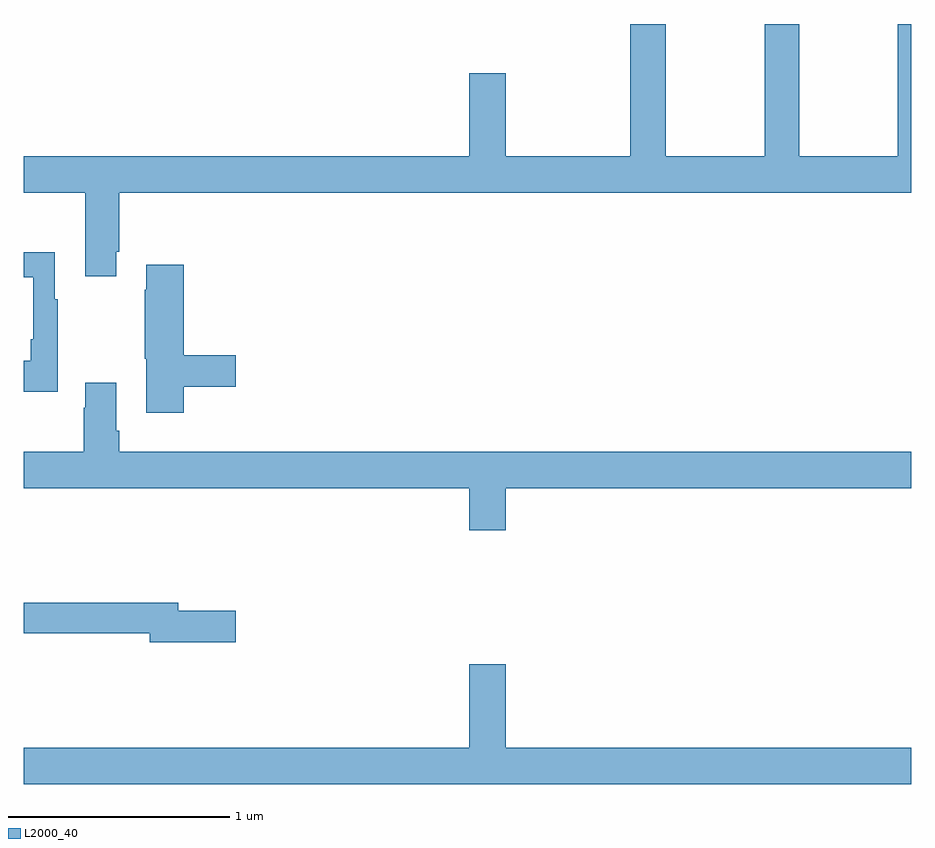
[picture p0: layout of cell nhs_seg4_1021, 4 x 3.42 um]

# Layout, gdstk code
import gdstk
lib = gdstk.Library(unit=1e-6, precision=1e-09)
def P(c, l, *ps):  # polygons
    for p in ps: c.add(gdstk.Polygon(p, *l))
L2000_40 = (2000, 40)

nhs_seg4_1021 = lib.new_cell('nhs_seg4_1021')
P(nhs_seg4_1021, L2000_40, [(163.417,809.875),(163.43,809.875),(163.43,810.14),(167,810.14),(167,810.9),(166.939,810.9),(166.939,810.304),(166.494,810.304),(166.494,810.9),(166.339,810.9),(166.339,810.304),(165.894,810.304),(165.894,810.9),(165.734,810.9),(165.734,810.304),(165.172,810.304),(165.172,810.679),(165.008,810.679),(165.008,810.304),(163,810.304),(163,810.14),(163.277,810.14),(163.277,809.763),(163.417,809.763)],
  [(163.153,809.659),(163.141,809.659),(163.141,809.872),(163,809.872),(163,809.759),(163.044,809.759),(163.044,809.479),(163.032,809.479),(163.032,809.383),(163,809.383),(163,809.243),(163.153,809.243)],
  [(163.721,809.266),(163.957,809.266),(163.957,809.408),(163.721,809.408),(163.721,809.815),(163.553,809.815),(163.553,809.702),(163.546,809.702),(163.546,809.391),(163.553,809.391),(163.553,809.148),(163.721,809.148)],
  [(165.172,808.808),(167,808.808),(167,808.972),(163.43,808.972),(163.43,809.068),(163.417,809.068),(163.417,809.284),(163.277,809.284),(163.277,809.171),(163.27,809.171),(163.27,808.972),(163,808.972),(163,808.808),(165.008,808.808),(165.008,808.62),(165.172,808.62)],
  [(163.957,808.256),(163.696,808.256),(163.696,808.292),(163,808.292),(163,808.156),(163.568,808.156),(163.568,808.114),(163.957,808.114)],
  [(167,807.64),(165.172,807.64),(165.172,808.015),(165.008,808.015),(165.008,807.64),(163,807.64),(163,807.476),(167,807.476)])

lib.write_gds('nhs_seg4_1021.gds')
